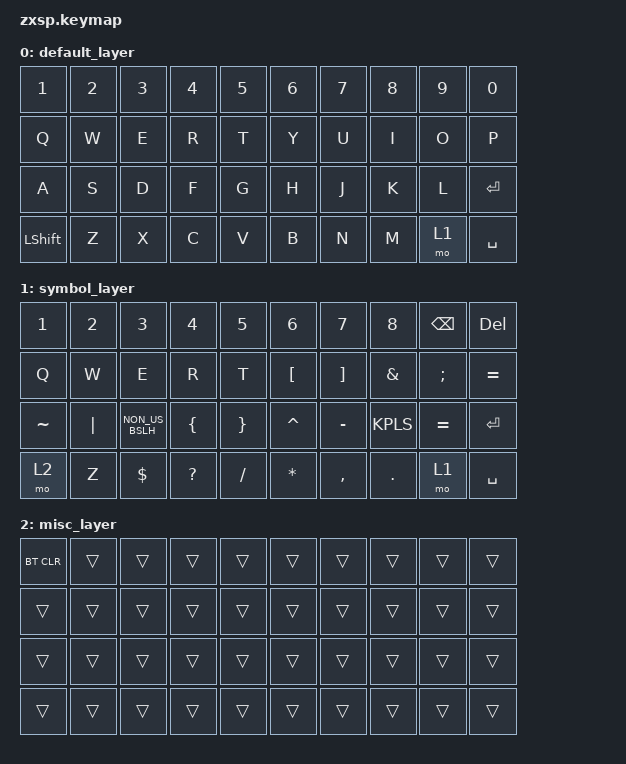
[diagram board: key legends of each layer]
/*
 * Copyright (c) 2021 The ZMK Contributors
 *
 * SPDX-License-Identifier: MIT
 */

#include <behaviors.dtsi>
#include <dt-bindings/zmk/keys.h>
#include <dt-bindings/zmk/bt.h>




/ {
    keymap {
  
        compatible = "zmk,keymap";

        default_layer {
            bindings = <
    &kp N1    &kp N2   &kp N3   &kp N4      &kp N5     &kp N6    &kp N7      &kp N8    &kp N9    &kp N0 
    &kp Q     &kp W    &kp E      &kp R     &kp T    &kp Y     &kp U      &kp I     &kp O     &kp P   
    &kp A     &kp S    &kp D     &kp F       &kp G      &kp H     &kp J      &kp K     &kp L     &kp ENTER
    &kp LSHFT &kp Z     &kp X    &kp C     &kp V       &kp B      &kp N     &kp M      &mo 1   &kp SPC   

            >;
        };

     symbol_layer {
            bindings = <
    &kp N1    &kp N2   &kp N3   &kp N4      &kp N5     &kp N6    &kp N7      &kp N8    &kp BKSP    &kp DEL 
&kp Q     &kp W    &kp E    &kp R       &kp T     &kp LBKT     &kp RBKT      &kp AMPS     &kp SEMI      &kp EQUAL   
    &kp TILDE &kp PIPE &kp NON_US_BSLH      &kp LBRC  &kp RBRC     &kp CARET    &kp MINUS      &kp KPLS     &kp  EQUAL    &kp ENTER
    &mo 2     &kp Z    &kp DOLLAR    	    &kp QMARK &kp SLASH    &kp STAR     &kp CMMA       &kp DOT      &mo 1         &kp SPC   

            >;
        };

    misc_layer {
            bindings = <
    &bt BT_CLR &trans   &trans &trans &trans    &trans &trans    &trans &trans    &trans 
    &trans    &trans &trans    &trans &trans    &trans &trans    &trans &trans    &trans 
        &trans    &trans &trans    &trans &trans    &trans &trans    &trans &trans    &trans 
            &trans    &trans &trans    &trans &trans    &trans &trans    &trans &trans    &trans 
            >;
        };

    };
};
